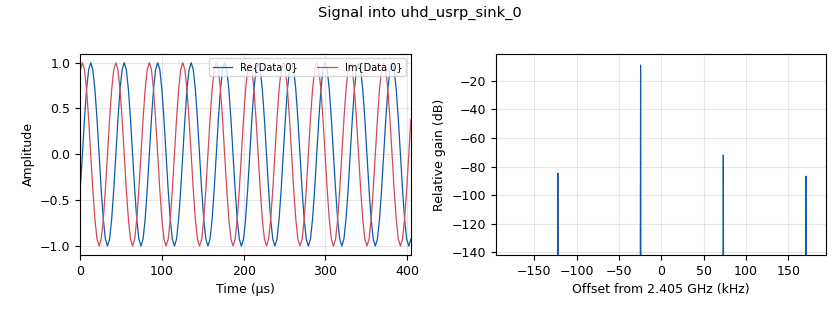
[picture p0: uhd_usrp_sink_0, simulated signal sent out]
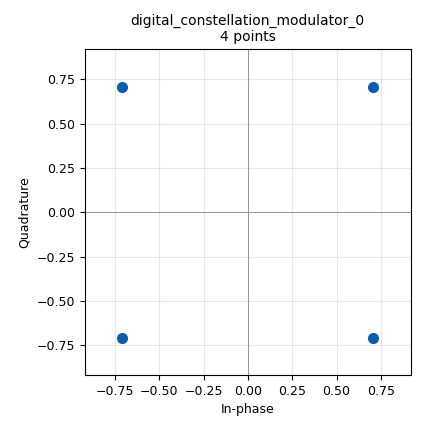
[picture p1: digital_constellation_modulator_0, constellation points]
<?xml version='1.0' encoding='utf-8'?>
<?grc format='1' created='3.7.5'?>
<flow_graph>
<block>
<key>options</key>
<param><key>id</key><value>tx_application</value></param>
<param><key>generate_options</key><value>no_gui</value></param>
<param><key>category</key><value>Custom</value></param>
</block>
<block>
<key>variable</key>
<param><key>id</key><value>usrp_rf_freq</value></param>
<param><key>value</key><value>2405000000</value></param>
</block>
<block>
<key>variable</key>
<param><key>id</key><value>samp_rate</value></param>
<param><key>value</key><value>390625</value></param>
</block>
<block>
<key>blocks_vector_source_x</key>
<param><key>id</key><value>blocks_vector_source_x_0_0</value></param>
<param><key>type</key><value>byte</value></param>
<param><key>vector</key><value>(255,255)</value></param>
<param><key>repeat</key><value>True</value></param>
</block>
<block>
<key>digital_constellation_modulator</key>
<param><key>id</key><value>digital_constellation_modulator_0</value></param>
<param><key>constellation</key><value>qpsk</value></param>
<param><key>differential</key><value>True</value></param>
<param><key>samples_per_symbol</key><value>4</value></param>
<param><key>excess_bw</key><value>0.35</value></param>
</block>
<block>
<key>uhd_usrp_sink</key>
<param><key>id</key><value>uhd_usrp_sink_0</value></param>
<param><key>type</key><value>fc32</value></param>
<param><key>dev_addr</key><value>addr=192.168.20.2</value></param>
<param><key>dev_args</key><value>""</value></param>
<param><key>sync</key><value></value></param>
<param><key>clock_rate</key><value>0.0</value></param>
<param><key>samp_rate</key><value>samp_rate</value></param>
<param><key>center_freq0</key><value>usrp_rf_freq</value></param>
<param><key>gain0</key><value>10</value></param>
<param><key>ant0</key><value></value></param>
<param><key>len_tag_name</key><value></value></param>
</block>
<block>
<key>variable_constellation_rect</key>
<param><key>id</key><value>qpsk</value></param>
<param><key>sym_map</key><value>[0, 1, 2, 3]</value></param>
<param><key>const_points</key><value>[0.707+0.707j, -0.707+0.707j, -0.707-0.707j, 0.707-0.707j]</value></param>
<param><key>rot_sym</key><value>4</value></param>
<param><key>real_sect</key><value>2</value></param>
<param><key>imag_sect</key><value>2</value></param>
<param><key>w_real_sect</key><value>1</value></param>
<param><key>w_imag_sect</key><value>1</value></param>
<param><key>softbits_lut</key><value>None</value></param>
</block>
<connection><source_block_id>digital_constellation_modulator_0</source_block_id><sink_block_id>uhd_usrp_sink_0</sink_block_id><source_key>0</source_key><sink_key>0</sink_key></connection>
<connection><source_block_id>blocks_vector_source_x_0_0</source_block_id><sink_block_id>digital_constellation_modulator_0</sink_block_id><source_key>0</source_key><sink_key>0</sink_key></connection>
</flow_graph>
